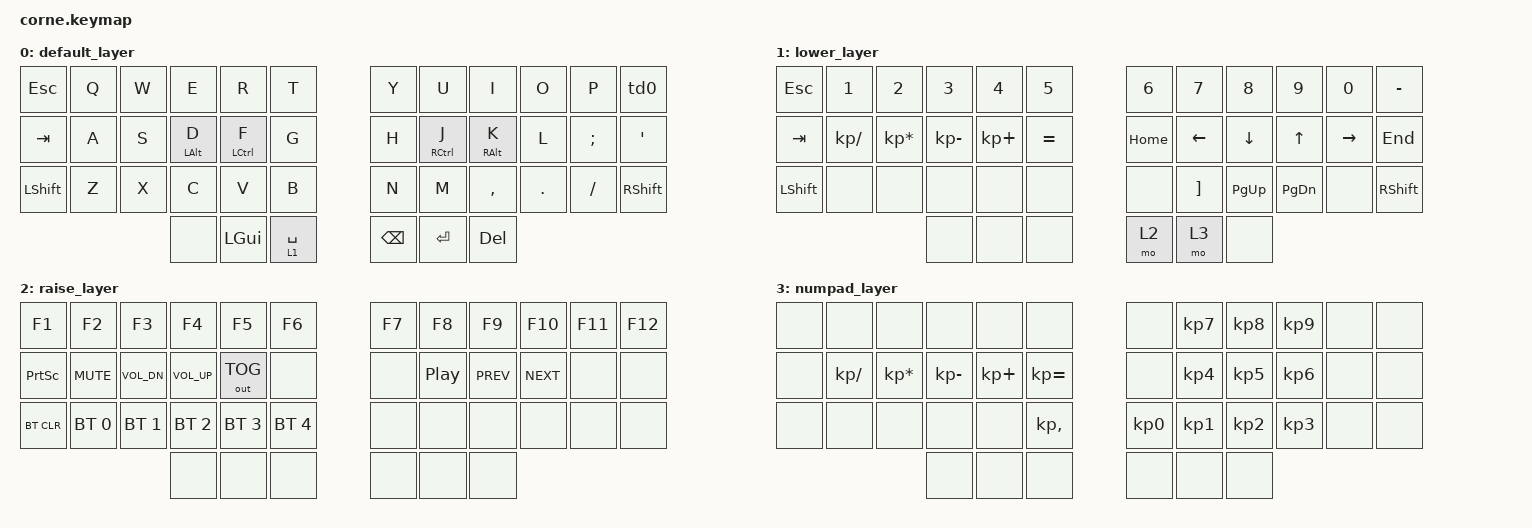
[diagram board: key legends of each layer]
#include <behaviors.dtsi>
#include <dt-bindings/zmk/keys.h>
#include <dt-bindings/zmk/bt.h>
#include <dt-bindings/zmk/outputs.h>

/ {
    behaviors {
        // TD(0): Одиночное нажатие - [, двойное - ]

        td0: tap_dance_0 {
            compatible = "zmk,behavior-tap-dance";
            #binding-cells = <0>;
            tapping-term-ms = <200>;
            bindings = <&kp LBKT>, <&kp RBKT>;
        };
        // Исправленное определение метки hm
        hm: homerow_mods {
            compatible = "zmk,behavior-hold-tap";
            #binding-cells = <2>;
            tapping-term-ms = <200>;
            quick-tap-ms = <0>;
            flavor = "tap-preferred";
            bindings = <&kp>, <&kp>;
        };
    };

    keymap {
        compatible = "zmk,keymap";

        default_layer {
            // Layer 0

            bindings = <
&kp ESC    &kp Q  &kp W  &kp E      &kp R        &kp T          &kp Y          &kp U        &kp I      &kp O    &kp P     &td0
&kp TAB    &kp A  &kp S  &hm LALT D &hm LCTRL F  &kp G          &kp H          &hm RCTRL J  &hm RALT K &kp L    &kp SEMI  &kp SQT
&kp LSHFT  &kp Z  &kp X  &kp C      &kp V        &kp B          &kp N          &kp M        &kp COMMA  &kp DOT  &kp FSLH  &kp RSHFT
                         &none      &kp LGUI     &lt 1 SPACE    &kp BACKSPACE  &kp RET      &kp DEL
            >;
        };

        lower_layer {
            // Layer 1

            bindings = <
&kp ESC    &kp N1         &kp N2           &kp N3        &kp N4       &kp N5       &kp N6    &kp N7    &kp N8     &kp N9     &kp N0     &kp MINUS
&kp TAB    &kp KP_DIVIDE  &kp KP_MULTIPLY  &kp KP_MINUS  &kp KP_PLUS  &kp EQUAL    &kp HOME  &kp LEFT  &kp DOWN   &kp UP     &kp RIGHT  &kp END
&kp LSHFT  &none          &none            &none         &none        &none        &none     &kp RBKT  &kp PG_UP  &kp PG_DN  &none      &kp RSHFT
                                           &none         &none        &none        &mo 2     &mo 3     &none
            >;
        };

        raise_layer {
            // Layer 2

            bindings = <
&kp F1     &kp F2      &kp F3        &kp F4        &kp F5  &kp F6    &kp F7  &kp F8    &kp F9      &kp F10     &kp F11  &kp F12
&kp PSCRN  &kp C_MUTE   &kp C_VOL_DN &kp C_VOL_UP &out OUT_TOG &none           &none    &kp C_PP &kp C_PREV &kp C_NEXT &none   &none
&bt BT_CLR &bt BT_SEL 0 &bt BT_SEL 1 &bt BT_SEL 2 &bt BT_SEL 3 &bt BT_SEL 4    &none    &none    &none      &none      &none   &none
                                     &none        &none        &none           &none    &none    &none
            >;
        };

        numpad_layer {
            // Layer 3

            bindings = <
&none  &none          &none            &none         &none        &none           &none      &kp KP_N7  &kp KP_N8  &kp KP_N9  &none  &none
&none  &kp KP_DIVIDE  &kp KP_MULTIPLY  &kp KP_MINUS  &kp KP_PLUS  &kp KP_EQUAL    &none      &kp KP_N4  &kp KP_N5  &kp KP_N6  &none  &none
&none  &none          &none            &none         &none        &kp KP_COMMA    &kp KP_N0  &kp KP_N1  &kp KP_N2  &kp KP_N3  &none  &none
                                       &none         &none        &none           &none      &none      &none
            >;
        };
    };
};
